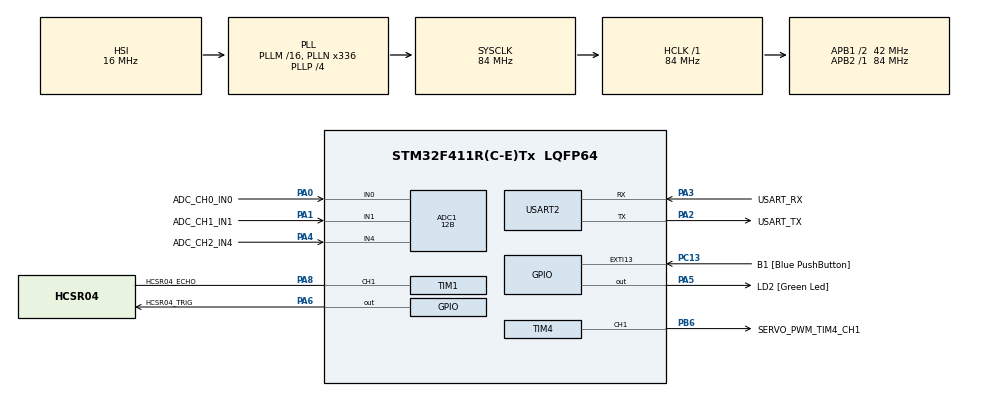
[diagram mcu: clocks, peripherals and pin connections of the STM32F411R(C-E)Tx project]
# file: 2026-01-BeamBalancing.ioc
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ADC1.Channel-0\#ChannelRegularConversion=ADC_CHANNEL_0
ADC1.Channel-1\#ChannelRegularConversion=ADC_CHANNEL_1
ADC1.Channel-2\#ChannelRegularConversion=ADC_CHANNEL_4
ADC1.ClockPrescaler=ADC_CLOCK_SYNC_PCLK_DIV4
ADC1.ContinuousConvMode=DISABLE
ADC1.DataAlign=ADC_DATAALIGN_RIGHT
ADC1.DMAContinuousRequests=DISABLE
ADC1.DiscontinuousConvMode=DISABLE
ADC1.EOCSelection=ADC_EOC_SINGLE_CONV
ADC1.ExternalTrigConv=ADC_EXTERNALTRIGCONV_T3_TRGO
ADC1.ExternalTrigConvEdge=ADC_EXTERNALTRIGCONVEDGE_RISING
ADC1.NbrOfConversion=3
ADC1.NbrOfConversionFlag=1
ADC1.Rank-0\#ChannelRegularConversion=1
ADC1.Rank-1\#ChannelRegularConversion=2
ADC1.Rank-2\#ChannelRegularConversion=3
ADC1.SamplingTime-0\#ChannelRegularConversion=ADC_SAMPLETIME_112CYCLES
ADC1.SamplingTime-1\#ChannelRegularConversion=ADC_SAMPLETIME_112CYCLES
ADC1.SamplingTime-2\#ChannelRegularConversion=ADC_SAMPLETIME_112CYCLES
ADC1.ScanConvMode=ENABLE
ADC1.Resolution=ADC_RESOLUTION_12B
ADC1.master=1
Mcu.Family=STM32F4
Mcu.Name=STM32F411R(C-E)Tx
Mcu.Package=LQFP64
NVIC.ADC_IRQn=true\:0\:0\:false\:false\:true\:true\:true\:true
NVIC.PriorityGroup=NVIC_PRIORITYGROUP_0
NVIC.TIM1_CC_IRQn=true\:2\:0\:true\:false\:true\:true\:true\:true
NVIC.TIM1_UP_TIM10_IRQn=true\:2\:0\:true\:false\:true\:true\:true\:true
NVIC.USART2_IRQn=true\:1\:0\:true\:false\:true\:true\:true\:true
PA0-WKUP.GPIO_Label=ADC_CH0_IN0
PA0-WKUP.Signal=ADCx_IN0
PA1.GPIO_Label=ADC_CH1_IN1
PA1.Signal=ADCx_IN1
PA13.GPIO_Label=TMS
PA13.Mode=Serial_Wire
PA13.Signal=SYS_JTMS-SWDIO
PA14.GPIO_Label=TCK
PA14.Mode=Serial_Wire
PA14.Signal=SYS_JTCK-SWCLK
PA2.GPIO_Label=USART_TX
PA2.Mode=Asynchronous
PA2.Signal=USART2_TX
PA3.GPIO_Label=USART_RX
PA3.Mode=Asynchronous
PA3.Signal=USART2_RX
PA4.GPIO_Label=ADC_CH2_IN4
PA4.Signal=ADCx_IN4
PA5.GPIO_Label=LD2 [Green Led]
PA5.Signal=GPIO_Output
PA6.GPIO_Label=HCSR04_TRIG
PA6.Signal=GPIO_Output
PA8.GPIO_Label=HCSR04_ECHO
PA8.Mode=Input Capture direct mode
PA8.Signal=S_TIM1_CH1
PB3.GPIO_Label=SWO
PB3.Signal=SYS_JTDO-SWO
PB6.GPIO_Label=SERVO_PWM_TIM4_CH1
PB6.Signal=S_TIM4_CH1
PC13-ANTI_TAMP.GPIO_Label=B1 [Blue PushButton]
PC13-ANTI_TAMP.GPIO_ModeDefaultEXTI=GPIO_MODE_IT_FALLING
PC13-ANTI_TAMP.Signal=GPXTI13
PC14-OSC32_IN.Mode=LSE-External-Oscillator
PC14-OSC32_IN.Signal=RCC_OSC32_IN
PC15-OSC32_OUT.Mode=LSE-External-Oscillator
PC15-OSC32_OUT.Signal=RCC_OSC32_OUT
PH0\ -\ OSC_IN.Mode=HSE-External-Clock-Source
PH0\ -\ OSC_IN.Signal=RCC_OSC_IN
PH1\ -\ OSC_OUT.Mode=HSE-External-Clock-Source
PH1\ -\ OSC_OUT.Signal=RCC_OSC_OUT
ProjectManager.HeapSize=0x200
ProjectManager.StackSize=0x400
ProjectManager.TargetToolchain=CMake
RCC.48MHZClocksFreq_Value=84000000
RCC.AHBFreq_Value=84000000
RCC.APB1CLKDivider=RCC_HCLK_DIV2
RCC.APB1Freq_Value=42000000
RCC.APB1TimFreq_Value=84000000
RCC.APB2Freq_Value=84000000
RCC.APB2TimFreq_Value=84000000
RCC.CortexFreq_Value=84000000
RCC.FLatency-AdvancedSettings=FLASH_LATENCY_2
RCC.HCLKFreq_Value=84000000
RCC.HSE_VALUE=8000000
RCC.HSI_VALUE=16000000
RCC.PLLN=336
RCC.PLLP=RCC_PLLP_DIV4
RCC.SYSCLKFreq_VALUE=84000000
RCC.SYSCLKSource=RCC_SYSCLKSOURCE_PLLCLK
RCC.VCOOutputFreq_Value=336000000
SH.ADCx_IN0.0=ADC1_IN0,IN0
SH.ADCx_IN1.0=ADC1_IN1,IN1
SH.ADCx_IN4.0=ADC1_IN4,IN4
SH.S_TIM1_CH1.0=TIM1_CH1,Input Capture direct mode
SH.S_TIM4_CH1.0=TIM4_CH1,PWM Generation1 CH1
STMicroelectronics.X-CUBE-ALGOBUILD.1.4.0.LibraryCcDSPOoLibraryJjDSPOoLibrary=true
TIM1.Channel-Input\ Capture1\ CH1=TIM_CHANNEL_1
TIM1.Period=9999
TIM1.Prescaler=83
TIM3.MasterOutputTrigger=TIM_TRGO_UPDATE
TIM3.Period=99
TIM3.Prescaler=8399
TIM4.Channel-PWM\ Generation1\ CH1=TIM_CHANNEL_1
TIM4.MasterOutputTrigger=TIM_TRGO_RESET
TIM4.Period=19999
TIM4.Prescaler=83
USART2.VirtualMode=VM_ASYNC
VP_STMicroelectronics.X-CUBE-ALGOBUILD_VS_DSPOoLibraryJjLibrary_1.4.0_1.4.0.Mode=DSPOoLibraryJjLibrary
VP_TIM1_VS_ClockSourceINT.Mode=Internal
VP_TIM3_VS_ClockSourceINT.Mode=Internal
VP_TIM4_VS_ClockSourceINT.Mode=Internal
board=NUCLEO-F411RE

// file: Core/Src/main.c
/* USER CODE BEGIN Header */
/**
  ******************************************************************************
  * @file           : main.c
  * @brief          : 빔 밸런싱 애플리케이션의 메인 프로그램 본체.
  *
  * 프로젝트 목적은 다음과 같다.
  * - 빔 밸런싱 실험을 위해 거리 관련 센서 데이터를 100Hz로 취득한다.
  * - 광학 거리 센서를 ADC1 정규 변환으로 측정한다.
  * - SHARP GP2Y0A41SK0F 센서의 ADC 값을 근사 거리(cm)로 변환한다.
  * - HC-SR04 초음파 센서를 TIM1 입력 캡처로 측정한다.
  * - 두 센서를 이용해 중심 오프셋을 계산하고 PID 제어에 활용한다.
  * - SG-90 서보모터를 TIM4 PWM 출력으로 구동한다.
  * - UART 기반 런타임 모니터링 및 명령 입력 기능을 제공한다.
  * - About / ADC / Servo / PID 모드 전환과 BACK 복귀를 지원한다.
  * - PID 제어는 RUN / STOP, SP / KP / KI / KD, DIR, RESET, STATUS 명령을 지원한다.
  ******************************************************************************
  * @attention
  *
  * Copyright (c) 2026 STMicroelectronics.
  * All rights reserved.
  *
  * This software is licensed under terms that can be found in the LICENSE file
  * in the root directory of this software component.
  * If no LICENSE file comes with this software, it is provided AS-IS.
  *
  ******************************************************************************
  */
/* USER CODE END Header */
#include "main.h"

/* USER CODE BEGIN Includes */

#include <stdio.h>
#include <stdlib.h>
#include <string.h>

/* USER CODE END Includes */

/* USER CODE BEGIN PTD */

typedef struct
{
  uint16_t channel[3U];
} AdcFrame_t;

typedef struct
{
  AdcFrame_t frame[256U];
  uint16_t head;
  uint16_t tail;
  uint16_t count;
  uint32_t overflow_count;
} AdcFrameQueue_t;

typedef enum
{
  APP_MODE_NONE  = 0,
  APP_MODE_ADC   = 1,
  APP_MODE_SERVO = 2,
  APP_MODE_PID   = 3
} AppMode_t;

typedef struct
{
  float voltage_v;
  float distance_cm;
} SharpGp2y0a41sk0fPoint_t;

typedef struct
{
  float kp;
  float ki;
  float kd;
  float setpoint_cm;
  float integral;
  float prev_error;
  float manual_offset_cm;
  float last_measurement_cm;
  float last_output_deg;
  uint8_t manual_input_enabled;
  int8_t output_direction_sign;
  uint8_t control_enabled;
  uint32_t last_update_tick;
} PidController_t;

/* USER CODE END PTD */

/* USER CODE BEGIN PD */

#define ADC_CHANNEL_COUNT       3U
#define ADC_BUFFER_LENGTH       256U
#define ADC_SAMPLE_RATE_HZ      100.0f
/* ADC 입력 용도는 다음과 같다.
 * - CH0 (PA0, ADC_CHANNEL_0): 광학 거리 센서 아날로그 출력(주 측정).
 * - CH1 (PA1), CH4 (PA4): 보조/예비 입력.
 */
/* L432-SG90 기준 캘리브레이션 범위와 기본값이다. */
#define SERVO_CALIB_MIN_US       500U
#define SERVO_CALIB_MAX_US      3000U
#define SERVO_DEFAULT_MIN_US     500U
#define SERVO_DEFAULT_MAX_US    2500U
#define ADC_REFERENCE_VOLTAGE      3.3f
#define ADC_MAX_COUNTS          4095.0f
#define UART_RX_RING_SIZE         64U

/* HC-SR04 -------------------------------------------------------------------*/
#define HCSR04_TRIG_PORT        GPIOA
#define HCSR04_TRIG_PIN         GPIO_PIN_6
/* TIM1: PSC=83 → 1MHz tick, ARR=9999 → 10ms 주기(100Hz)이다. */
/* ECHO 유효 최대 거리는 10ms/2 × 34300 cm/s ≈ 171 cm이다. */
#define HCSR04_TIM_ARR          9999U
#define HCSR04_TRIG_PULSE_US    10U

/* USER CODE END PD */

ADC_HandleTypeDef hadc1;

TIM_HandleTypeDef htim1;
TIM_HandleTypeDef htim3;
TIM_HandleTypeDef htim4;

UART_HandleTypeDef huart2;

/* USER CODE BEGIN PV */

uint32_t g_led_toggle_count = 0U;
AdcFrameQueue_t g_adc_queue;
AdcFrame_t g_adc_current_frame;
/* 최신 ADC 3채널 값 스냅샷이다. 항상 마지막 완성 프레임을 보관한다. */
volatile uint16_t g_adc_latest_raw[ADC_CHANNEL_COUNT] = {0U, 0U, 0U};
volatile float g_adc_latest_distance_cm = 0.0f;
volatile uint32_t g_adc_total_frames = 0U;
volatile uint8_t g_adc_rank_index = 0U;
uint8_t g_adc_stream_enabled = 1U;
uint8_t g_servo_current_angle = 90U;
volatile uint32_t g_servo_min_pulse_us = SERVO_DEFAULT_MIN_US;
volatile uint32_t g_servo_max_pulse_us = SERVO_DEFAULT_MAX_US;
AppMode_t g_app_mode = APP_MODE_NONE;
volatile uint8_t g_uart2_rx_ring[UART_RX_RING_SIZE];
volatile uint8_t g_uart2_rx_head = 0U;
volatile uint8_t g_uart2_rx_tail = 0U;
volatile uint8_t g_uart2_rx_it_byte = 0U;

/* HC-SR04 측정 변수들이다. */
typedef enum { ECHO_IDLE = 0, ECHO_RISING = 1 } EchoState_t;
volatile EchoState_t g_echo_state     = ECHO_IDLE;
volatile uint32_t    g_echo_start_us  = 0U;
volatile uint32_t    g_echo_width_us  = 0U;
volatile float       g_hcsr04_dist_cm = 0.0f;

/* USER CODE END PV */

void SystemClock_Config(void);
static void MX_GPIO_Init(void);
static void MX_USART2_UART_Init(void);
static void MX_ADC1_Init(void);
static void MX_TIM1_Init(void);
static void MX_TIM3_Init(void);
static void MX_TIM4_Init(void);
/* USER CODE BEGIN PFP */

void HAL_ADC_ConvCpltCallback(ADC_HandleTypeDef* hadc);
static void AdcQueue_Init(AdcFrameQueue_t* queue);
static uint8_t AdcQueue_Push(AdcFrameQueue_t* queue, const AdcFrame_t* frame);
static uint8_t AdcQueue_Pop(AdcFrameQueue_t* queue, AdcFrame_t* frame);
static uint8_t AdcQueue_IsFull(const AdcFrameQueue_t* queue);
static uint8_t AdcQueue_IsEmpty(const AdcFrameQueue_t* queue);
static uint16_t __attribute__((unused)) AdcQueue_Count(const AdcFrameQueue_t* queue);
static uint32_t __attribute__((unused)) AdcQueue_OverflowCount(const AdcFrameQueue_t* queue);
static void SetServoAngle(uint8_t angle);
static void PrintServoHelp(uint8_t invalid);
static void PrintServoStatus(void);
static void PrintServoPrompt(void);
static void ProcessServoInput(void);
static void PrintAdcHelp(uint8_t invalid);
static void PrintAdcStatus(void);
static void PrintAdcPrompt(void);
static void ProcessAdcInput(void);
static AppMode_t SelectMode(void);
static uint8_t Uart2_ReadByte(uint8_t* out);
static float SharpGp2y0a41sk0f_DistanceCmFromAdc(uint16_t raw_adc);
static float CalculateBallCenterOffsetCm(float left_distance_cm, float right_distance_cm);
static void PrintAboutInfo(void);
static void SetServoAngleRaw(uint8_t angle);
static float ParseFloatOrDefault(const char* text, float default_value);
static void ResetPidController(void);
static float GetPidMeasurementOffsetCm(void);
static void SetPidOutputDirection(int8_t sign);
static void SetPidControlEnabled(uint8_t enabled);
static void PrintPidHelp(uint8_t invalid);
static void PrintPidStatus(void);
static void PrintPidPrompt(void);
static void ProcessPidInput(void);
static void UpdatePidControl(void);

static PidController_t g_pid =
{
  .kp = 5.0f,
  .ki = 0.0f,
  .kd = 0.0f,
  .setpoint_cm = 0.0f,
  .integral = 0.0f,
  .prev_error = 0.0f,
  .manual_offset_cm = 0.0f,
  .last_measurement_cm = 0.0f,
  .last_output_deg = 0.0f,
  .manual_input_enabled = 0U,
  .output_direction_sign = 1,
  .control_enabled = 0U,
  .last_update_tick = 0U
};

/* USER CODE END PFP */

/* USER CODE BEGIN 0 */

static const SharpGp2y0a41sk0fPoint_t kSharpGp2y0a41sk0fCurve[] =
{
  { 3.05f,  4.0f },
  { 2.55f,  5.0f },
  { 2.10f,  6.0f },
  { 1.75f,  7.0f },
  { 1.45f,  8.0f },
  { 1.22f,  9.0f },
  { 1.00f, 10.0f },
  { 0.82f, 12.0f },
  { 0.66f, 15.0f },
  { 0.50f, 20.0f },
  { 0.38f, 25.0f },
  { 0.30f, 30.0f }
};

static float SharpGp2y0a41sk0f_DistanceCmFromAdc(uint16_t raw_adc)
{
  const size_t point_count = sizeof(kSharpGp2y0a41sk0fCurve) / sizeof(kSharpGp2y0a41sk0fCurve[0]);
  float voltage_v;
  size_t i;

  voltage_v = ((float)raw_adc * ADC_REFERENCE_VOLTAGE) / ADC_MAX_COUNTS;

  if (voltage_v >= kSharpGp2y0a41sk0fCurve[0].voltage_v)
  {
    return kSharpGp2y0a41sk0fCurve[0].distance_cm;
  }

  if (voltage_v <= kSharpGp2y0a41sk0fCurve[point_count - 1U].voltage_v)
  {
    return kSharpGp2y0a41sk0fCurve[point_count - 1U].distance_cm;
  }

  for (i = 0U; i < (point_count - 1U); i++)
  {
    const SharpGp2y0a41sk0fPoint_t* left = &kSharpGp2y0a41sk0fCurve[i];
    const SharpGp2y0a41sk0fPoint_t* right = &kSharpGp2y0a41sk0fCurve[i + 1U];

    if ((voltage_v <= left->voltage_v) && (voltage_v >= right->voltage_v))
    {
      float span_v = left->voltage_v - right->voltage_v;
      float ratio = (left->voltage_v - voltage_v) / span_v;

      return left->distance_cm + (ratio * (right->distance_cm - left->distance_cm));
    }
  }

  return kSharpGp2y0a41sk0fCurve[point_count - 1U].distance_cm;
}

static float CalculateBallCenterOffsetCm(float left_distance_cm, float right_distance_cm)
{
  return 0.5f * (left_distance_cm - right_distance_cm);
}

static float ParseFloatOrDefault(const char* text, float default_value)
{
  char* endptr;
  float value;

  if (text == NULL)
  {
    return default_value;
  }

  value = strtof(text, &endptr);
  if (endptr == text)
  {
    return default_value;
  }

  return value;
}

static void SetServoAngleRaw(uint8_t angle)
{
  uint32_t pulse;

  if (angle > 180U)
  {
    angle = 180U;
  }

  pulse = g_servo_min_pulse_us
      + ((uint32_t)angle * (g_servo_max_pulse_us - g_servo_min_pulse_us)) / 180U;
  __HAL_TIM_SET_COMPARE(&htim4, TIM_CHANNEL_1, pulse);
  g_servo_current_angle = angle;
}

static float GetPidMeasurementOffsetCm(void)
{
  if (g_pid.manual_input_enabled != 0U)
  {
    return g_pid.manual_offset_cm;
  }

  return CalculateBallCenterOffsetCm(g_adc_latest_distance_cm, g_hcsr04_dist_cm);
}

static void ResetPidController(void)
{
  g_pid.integral = 0.0f;
  g_pid.prev_error = 0.0f;
  g_pid.last_measurement_cm = GetPidMeasurementOffsetCm();
  g_pid.last_output_deg = 0.0f;
  g_pid.last_update_tick = HAL_GetTick();
}

static void SetPidOutputDirection(int8_t sign)
{
  if (sign < 0)
  {
    g_pid.output_direction_sign = -1;
  }
  else
  {
    g_pid.output_direction_sign = 1;
  }
}

static void SetPidControlEnabled(uint8_t enabled)
{
  g_pid.control_enabled = (enabled != 0U) ? 1U : 0U;
}

static void PrintPidHelp(uint8_t invalid)
{
  if (invalid != 0U)
  {
    printf("\nInvalid command\n");
  }
  else
  {
    printf("\n[PID HELP]\n");
  }

  printf("  POS:<cm>  : set current ball offset manually\n");
  printf("  AUTO      : use sensor-based ball offset\n");
  printf("  RUN       : start PID control\n");
  printf("  STOP      : stop PID control\n");
  printf("  SP:<cm>   : set target offset (default 0)\n");
  printf("  KP:<v>    : set proportional gain\n");
  printf("  KI:<v>    : set integral gain\n");
  printf("  KD:<v>    : set derivative gain\n");
  printf("  DIR:+/-   : set output direction sign\n");
  printf("  RESET     : clear integral/derivative state\n");
  printf("  STATUS    : show PID status\n");
  printf("  BACK      : return to mode select\n");
  printf("  HELP      : show this help\n");
}

static void PrintPidStatus(void)
{
  float measurement_cm;
  float error_cm;

  measurement_cm = GetPidMeasurementOffsetCm();
  error_cm = g_pid.setpoint_cm - measurement_cm;

  printf("\n[PID STATUS]\n");
  printf("  input     : %s\n", (g_pid.manual_input_enabled != 0U) ? "MANUAL" : "AUTO");
  printf("  control   : %s\n", (g_pid.control_enabled != 0U) ? "RUN" : "STOP");
  printf("  offset    : %.2f cm\n", (double)measurement_cm);
  printf("  setpoint  : %.2f cm\n", (double)g_pid.setpoint_cm);
  printf("  error     : %.2f cm\n", (double)error_cm);
  printf("  Kp        : %.3f\n", (double)g_pid.kp);
  printf("  Ki        : %.3f\n", (double)g_pid.ki);
  printf("  Kd        : %.3f\n", (double)g_pid.kd);
  printf("  dir       : %s\n", (g_pid.output_direction_sign >= 0) ? "+" : "-");
  printf("  integral  : %.3f\n", (double)g_pid.integral);
  printf("  output    : %.2f deg\n", (double)g_pid.last_output_deg);
  printf("  servo now : %u deg\n", (unsigned int)g_servo_current_angle);
}

static void PrintPidPrompt(void)
{
  printf("PID> ");
}

static void UpdatePidControl(void)
{
  uint32_t now_tick;
  float dt_s;
  float measurement_cm;
  float error_cm;
  float derivative_cm_per_s;
  float output_deg;
  float next_angle_deg;

  now_tick = HAL_GetTick();
  if ((now_tick - g_pid.last_update_tick) < 10U)
  {
    return;
  }

  if (g_pid.control_enabled == 0U)
  {
    return;
  }

  dt_s = (float)(now_tick - g_pid.last_update_tick) / 1000.0f;
  if (dt_s <= 0.0f)
  {
    return;
  }

  g_pid.last_update_tick = now_tick;

  measurement_cm = GetPidMeasurementOffsetCm();
  error_cm = g_pid.setpoint_cm - measurement_cm;
  g_pid.integral += error_cm * dt_s;
  derivative_cm_per_s = (error_cm - g_pid.prev_error) / dt_s;
  output_deg = (g_pid.kp * error_cm) + (g_pid.ki * g_pid.integral) + (g_pid.kd * derivative_cm_per_s);
  output_deg *= (float)g_pid.output_direction_sign;

  next_angle_deg = 90.0f + output_deg;
  if (next_angle_deg < 0.0f)
  {
    next_angle_deg = 0.0f;
  }
  else if (next_angle_deg > 180.0f)
  {
    next_angle_deg = 180.0f;
  }

  g_pid.prev_error = error_cm;
  g_pid.last_measurement_cm = measurement_cm;
  g_pid.last_output_deg = output_deg;

  SetServoAngleRaw((uint8_t)(next_angle_deg + 0.5f));
}

static void ProcessPidInput(void)
{
  uint8_t rx_char;
  static char input_buf[24];
  static uint8_t input_len = 0U;

  if (Uart2_ReadByte(&rx_char) == 0U)
  {
    return;
  }

  if ((rx_char == '\r') || (rx_char == '\n'))
  {
    uint8_t i;

    if (input_len == 0U)
    {
      PrintPidPrompt();
      return;
    }

    input_buf[input_len] = '\0';

    for (i = 0U; i < input_len; i++)
    {
      if ((input_buf[i] >= 'a') && (input_buf[i] <= 'z'))
      {
        input_buf[i] = (char)(input_buf[i] - 'a' + 'A');
      }
    }

    if (strncmp(input_buf, "POS:", 4U) == 0)
    {
      g_pid.manual_offset_cm = ParseFloatOrDefault(&input_buf[4], 0.0f);
      g_pid.manual_input_enabled = 1U;
      ResetPidController();
      printf("Manual offset = %.2f cm\n", (double)g_pid.manual_offset_cm);
    }
    else if (strcmp(input_buf, "AUTO") == 0)
    {
      g_pid.manual_input_enabled = 0U;
      ResetPidController();
      printf("PID input source = AUTO\n");
    }
    else if (strcmp(input_buf, "RUN") == 0)
    {
      SetPidControlEnabled(1U);
      ResetPidController();
      printf("PID control RUN\n");
    }
    else if (strcmp(input_buf, "STOP") == 0)
    {
      SetPidControlEnabled(0U);
      printf("PID control STOP\n");
    }
    else if (strncmp(input_buf, "SP:", 3U) == 0)
    {
      g_pid.setpoint_cm = ParseFloatOrDefault(&input_buf[3], 0.0f);
      ResetPidController();
      printf("Setpoint = %.2f cm\n", (double)g_pid.setpoint_cm);
    }
    else if (strncmp(input_buf, "KP:", 3U) == 0)
    {
      g_pid.kp = ParseFloatOrDefault(&input_buf[3], g_pid.kp);
      printf("Kp = %.3f\n", (double)g_pid.kp);
    }
    else if (strncmp(input_buf, "KI:", 3U) == 0)
    {
      g_pid.ki = ParseFloatOrDefault(&input_buf[3], g_pid.ki);
      printf("Ki = %.3f\n", (double)g_pid.ki);
    }
    else if (strncmp(input_buf, "KD:", 3U) == 0)
    {
      g_pid.kd = ParseFloatOrDefault(&input_buf[3], g_pid.kd);
      printf("Kd = %.3f\n", (double)g_pid.kd);
    }
    else if (strncmp(input_buf, "DIR:", 4U) == 0)
    {
      char direction = input_buf[4];

      if ((direction == '+') || (direction == '1') || (direction == 'P'))
      {
        SetPidOutputDirection(1);
        printf("PID direction = +\n");
      }
      else if ((direction == '-') || (direction == '0') || (direction == 'N') || (direction == 'R'))
      {
        SetPidOutputDirection(-1);
        printf("PID direction = -\n");
      }
      else
      {
        printf("Invalid direction. Use DIR:+ or DIR:-\n");
      }
    }
    else if (strcmp(input_buf, "RESET") == 0)
    {
      ResetPidController();
      printf("PID state reset\n");
    }
    else if (strcmp(input_buf, "STATUS") == 0)
    {
      PrintPidStatus();
    }
    else if (strcmp(input_buf, "BACK") == 0)
    {
      printf("Returning to mode select\n");
      g_app_mode = APP_MODE_NONE;
      input_len = 0U;
      return;
    }
    else if (strcmp(input_buf, "HELP") == 0)
    {
      PrintPidHelp(0U);
    }
    else
    {
      PrintPidHelp(1U);
    }

    input_len = 0U;
    PrintPidPrompt();
    return;
  }

  if ((rx_char >= ' ') && (rx_char <= '~'))
  {
    if (input_len < (sizeof(input_buf) - 1U))
    {
      input_buf[input_len++] = (char)rx_char;
    }
  }
}

static void PrintAboutInfo(void)
{
  printf("\n[ABOUT]\n");
  printf("  BeamBalancing: STM32F411RE beam balance control demo\n");
  printf("  ADC mode     : GP2Y0A41SK0F optical distance + HC-SR04 distance\n");
  printf("  Servo mode   : SG-90 angle control and calibration\n");
  printf("  PID mode     : offset-based PID position control\n");
  printf("  Commands     : 0=About, 1=ADC, 2=Servo, 3=PID\n");
}

int __io_putchar(int ch)
{
  uint8_t c = (uint8_t)ch;

  /* 줄바꿈 문자를 CRLF로 변환한다. */
  if (c == '\n')
  {
    uint8_t cr = '\r';
    HAL_UART_Transmit(&huart2, &cr, 1U, HAL_MAX_DELAY);
  }

  HAL_UART_Transmit(&huart2, &c, 1U, HAL_MAX_DELAY);
  return ch;
}

static AppMode_t SelectMode(void)
{
  uint8_t rx_char;

  printf("\n=== Mode Select ===\n");
  printf("0: About      - brief program overview\n");
  printf("1: ADC Mode   - CH0 raw + optical_cm + ultrasonic distance CSV output\n");
  printf("2: Servo Mode - command interface (A, STOP, CMIN, CMAX, STATUS, HELP)\n");
  printf("3: PID Mode   - offset-based PID position control\n");
  printf("Press 0, 1, 2 or 3: ");

  while (1)
  {
    if (Uart2_ReadByte(&rx_char) != 0U)
    {
      if (rx_char == '0')
      {
        printf("0\n");
        PrintAboutInfo();
        printf("Press 0, 1, 2 or 3: ");
      }
      else if (rx_char == '1')
      {
        printf("1\n");
        printf("[ADC Mode] Sampling: CH0 + ultrasonic, 100Hz\n");
        printf("Output format: ch0,ultra_cm\n");
        PrintAdcHelp(0U);
        PrintAdcPrompt();
        return APP_MODE_ADC;
      }
      else if (rx_char == '2')
      {
        printf("2\n");
        printf("[Servo Mode] Angle + calibration command interface enabled\n");
        PrintServoHelp(0U);
        PrintServoPrompt();
        return APP_MODE_SERVO;
      }
      else if (rx_char == '3')
      {
        printf("3\n");
        printf("[PID Mode] Position control enabled\n");
        ResetPidController();
        SetPidControlEnabled(0U);
        SetServoAngleRaw(90U);
        PrintPidHelp(0U);
        PrintPidPrompt();
        return APP_MODE_PID;
      }
    }
  }
}

/* USER CODE END 0 */

int main(void)
{

  /* MCU Configuration--------------------------------------------------------*/

  /* Reset of all peripherals, Initializes the Flash interface and the Systick. */
  HAL_Init();

  /* Configure the system clock */
  SystemClock_Config();

  /* Initialize all configured peripherals */
  MX_GPIO_Init();
  MX_USART2_UART_Init();
  MX_ADC1_Init();
  MX_TIM1_Init();
  MX_TIM3_Init();
  MX_TIM4_Init();
  /* USER CODE BEGIN 2 */

  if (HAL_TIM_PWM_Start(&htim4, TIM_CHANNEL_1) != HAL_OK)
  {
    Error_Handler();
  }

  /* 큐/서보 상태 초기화 순서는 1) 큐 초기화, 2) 서보 초기 듀티 적용이다. */
  AdcQueue_Init(&g_adc_queue);
  SetServoAngle(g_servo_current_angle);

  if (HAL_TIM_Base_Start(&htim3) != HAL_OK)
  {
    Error_Handler();
  }

  if (HAL_UART_Receive_IT(&huart2, (uint8_t*)&g_uart2_rx_it_byte, 1U) != HAL_OK)
  {
    Error_Handler();
  }

  if (HAL_ADC_Start_IT(&hadc1) != HAL_OK)
  {
    Error_Handler();
  }

  /* HC-SR04는 TRIG를 초기 LOW로 두고, ECHO 입력 캡처와 Update/CC2 인터럽트를 시작한다. */
  HAL_GPIO_WritePin(HCSR04_TRIG_PORT, HCSR04_TRIG_PIN, GPIO_PIN_RESET);

  if (HAL_TIM_IC_Start_IT(&htim1, TIM_CHANNEL_1) != HAL_OK)
  {
    Error_Handler();
  }
  __HAL_TIM_ENABLE_IT(&htim1, TIM_IT_UPDATE | TIM_IT_CC2);

  /* 부팅이 완료되면 사용자에게 모드 선택을 요청한다. */
  g_app_mode = SelectMode();

  /* USER CODE END 2 */

  /* Infinite loop */
  /* USER CODE BEGIN WHILE */
  /* uint32_t last_report_tick = HAL_GetTick(); */
  while (1)
  {
    /* USER CODE END WHILE */

    /* USER CODE BEGIN 3 */
    uint8_t popped;
    AdcFrame_t frame;

    if (g_app_mode == APP_MODE_NONE)
    {
      g_app_mode = SelectMode();
      continue;
    }

    if (g_app_mode == APP_MODE_PID)
    {
      ProcessPidInput();
      UpdatePidControl();
      continue;
    }

    if (g_app_mode == APP_MODE_SERVO)
    {
      /* Servo 모드는 명령 입력 기반 각도 및 캘리브레이션 제어를 수행한다. */
      ProcessServoInput();
    }
    else
    {
      ProcessAdcInput();

      /* ADC 모드는 ADC 큐에서 프레임을 꺼내 CSV로 출력한다. */
      /*
       * ISR(ADC callback)에서 push 중일 수 있으므로
       * pop 시점만 짧게 임계구역으로 보호한다.
       */
      __disable_irq();
      popped = AdcQueue_Pop(&g_adc_queue, &frame);
      __enable_irq();

      if (popped != 0U)
      {
        if (g_adc_stream_enabled != 0U)
        {
          float optical_distance_cm;

          optical_distance_cm = SharpGp2y0a41sk0f_DistanceCmFromAdc(frame.channel[0]);
          g_adc_latest_distance_cm = optical_distance_cm;

          printf("%u,%.2f,%.2f\n",
                 (unsigned int)frame.channel[0],
                 optical_distance_cm,
                 g_hcsr04_dist_cm);
        }
      }
    }

    /*
    now_tick = HAL_GetTick();
    if ((now_tick - last_report_tick) >= 1000U)
    {
      last_report_tick += 1000U;

      __disable_irq();
      queue_count_snapshot = AdcQueue_Count(&g_adc_queue);
      total_frames_snapshot = g_adc_total_frames;
      overflow_snapshot = AdcQueue_OverflowCount(&g_adc_queue);
      __enable_irq();

      HAL_GPIO_TogglePin(LD2_GPIO_Port, LD2_Pin);
      printf("ADC frames: %lu, queue: %u/256, ovf: %lu, Servo: %u%%\n",
             (unsigned long)total_frames_snapshot,
             (unsigned int)queue_count_snapshot,
             (unsigned long)overflow_snapshot,
             (unsigned int)g_pwm_duty_percent);
      g_led_toggle_count++;
    }
    */
  }
  /* USER CODE END 3 */
}

void SystemClock_Config(void)
{
  RCC_OscInitTypeDef RCC_OscInitStruct = {0};
  RCC_ClkInitTypeDef RCC_ClkInitStruct = {0};

  /** Configure the main internal regulator output voltage
  */
  __HAL_RCC_PWR_CLK_ENABLE();
  __HAL_PWR_VOLTAGESCALING_CONFIG(PWR_REGULATOR_VOLTAGE_SCALE1);

  /** Initializes the RCC Oscillators according to the specified parameters
  * in the RCC_OscInitTypeDef structure.
  */
  RCC_OscInitStruct.OscillatorType = RCC_OSCILLATORTYPE_HSI;
  RCC_OscInitStruct.HSIState = RCC_HSI_ON;
  RCC_OscInitStruct.HSICalibrationValue = RCC_HSICALIBRATION_DEFAULT;
  RCC_OscInitStruct.PLL.PLLState = RCC_PLL_ON;
  RCC_OscInitStruct.PLL.PLLSource = RCC_PLLSOURCE_HSI;
  RCC_OscInitStruct.PLL.PLLM = 16;
  RCC_OscInitStruct.PLL.PLLN = 336;
  RCC_OscInitStruct.PLL.PLLP = RCC_PLLP_DIV4;
  RCC_OscInitStruct.PLL.PLLQ = 4;
  if (HAL_RCC_OscConfig(&RCC_OscInitStruct) != HAL_OK)
  {
    Error_Handler();
  }

  /** Initializes the CPU, AHB and APB buses clocks
  */
  RCC_ClkInitStruct.ClockType = RCC_CLOCKTYPE_HCLK|RCC_CLOCKTYPE_SYSCLK
                              |RCC_CLOCKTYPE_PCLK1|RCC_CLOCKTYPE_PCLK2;
  RCC_ClkInitStruct.SYSCLKSource = RCC_SYSCLKSOURCE_PLLCLK;
  RCC_ClkInitStruct.AHBCLKDivider = RCC_SYSCLK_DIV1;
  RCC_ClkInitStruct.APB1CLKDivider = RCC_HCLK_DIV2;
  RCC_ClkInitStruct.APB2CLKDivider = RCC_HCLK_DIV1;

  if (HAL_RCC_ClockConfig(&RCC_ClkInitStruct, FLASH_LATENCY_2) != HAL_OK)
  {
    Error_Handler();
  }
}

static void MX_ADC1_Init(void)
{

  ADC_ChannelConfTypeDef sConfig = {0};

  /** Configure the global features of the ADC (Clock, Resolution, Data Alignment and number of conversion)
  */
  hadc1.Instance = ADC1;
  hadc1.Init.ClockPrescaler = ADC_CLOCK_SYNC_PCLK_DIV4;
  hadc1.Init.Resolution = ADC_RESOLUTION_12B;
  hadc1.Init.ScanConvMode = ENABLE;
  hadc1.Init.ContinuousConvMode = DISABLE;
  hadc1.Init.DiscontinuousConvMode = DISABLE;
  hadc1.Init.ExternalTrigConvEdge = ADC_EXTERNALTRIGCONVEDGE_RISING;
  hadc1.Init.ExternalTrigConv = ADC_EXTERNALTRIGCONV_T3_TRGO;
  hadc1.Init.DataAlign = ADC_DATAALIGN_RIGHT;
  hadc1.Init.NbrOfConversion = 3;
  hadc1.Init.DMAContinuousRequests = DISABLE;
  hadc1.Init.EOCSelection = ADC_EOC_SINGLE_CONV;
  if (HAL_ADC_Init(&hadc1) != HAL_OK)
  {
    Error_Handler();
  }

  /** Configure for the selected ADC regular channel its corresponding rank in the sequencer and its sample time.
  */
  /* Rank1: CH0(PA0)는 광학 거리 센서이다. */
  sConfig.Channel = ADC_CHANNEL_0;
  sConfig.Rank = 1;
  sConfig.SamplingTime = ADC_SAMPLETIME_112CYCLES;
  if (HAL_ADC_ConfigChannel(&hadc1, &sConfig) != HAL_OK)
  {
    Error_Handler();
  }

  /** Configure for the selected ADC regular channel its corresponding rank in the sequencer and its sample time.
  */
  /* Rank2: CH1(PA1)은 보조/예비 입력이다. */
  sConfig.Channel = ADC_CHANNEL_1;
  sConfig.Rank = 2;
  if (HAL_ADC_ConfigChannel(&hadc1, &sConfig) != HAL_OK)
  {
    Error_Handler();
  }

  /** Configure for the selected ADC regular channel its corresponding rank in the sequencer and its sample time.
  */
  /* Rank3: CH4(PA4)는 보조/예비 입력이다. */
  sConfig.Channel = ADC_CHANNEL_4;
  sConfig.Rank = 3;
  if (HAL_ADC_ConfigChannel(&hadc1, &sConfig) != HAL_OK)
  {
    Error_Handler();
  }

}

/**
  * @brief TIM1 초기화 함수 (HC-SR04 ECHO 입력 캡처 + 100Hz TRIG 생성)
  *        PSC=83 -> 1MHz tick, ARR=9999 -> 10ms 주기(100Hz)
  *        CH1: 입력 캡처 (PA8, ECHO)
  *        CH2: Output Compare TIMING (인터럽트만, 핀 없음, 10us 후 TRIG LOW)
  * @retval None
  */
static void MX_TIM1_Init(void)
{
  TIM_ClockConfigTypeDef sClockSourceConfig = {0};
  TIM_MasterConfigTypeDef sMasterConfig     = {0};
  TIM_IC_InitTypeDef sConfigIC              = {0};
  TIM_OC_InitTypeDef sConfigOC              = {0};

  htim1.Instance               = TIM1;
  htim1.Init.Prescaler         = 83U;           /* 84MHz / 84 = 1MHz */
  htim1.Init.CounterMode       = TIM_COUNTERMODE_UP;
  htim1.Init.Period            = HCSR04_TIM_ARR; /* 9999 = 10ms */
  htim1.Init.ClockDivision     = TIM_CLOCKDIVISION_DIV1;
  htim1.Init.RepetitionCounter = 0U;
  htim1.Init.AutoReloadPreload = TIM_AUTORELOAD_PRELOAD_DISABLE;
  if (HAL_TIM_Base_Init(&htim1) != HAL_OK)
  {
    Error_Handler();
  }

  sClockSourceConfig.ClockSource = TIM_CLOCKSOURCE_INTERNAL;
  if (HAL_TIM_ConfigClockSource(&htim1, &sClockSourceConfig) != HAL_OK)
  {
    Error_Handler();
  }

  sMasterConfig.MasterOutputTrigger = TIM_TRGO_RESET;
  sMasterConfig.MasterSlaveMode     = TIM_MASTERSLAVEMODE_DISABLE;
  if (HAL_TIMEx_MasterConfigSynchronization(&htim1, &sMasterConfig) != HAL_OK)
  {
    Error_Handler();
  }

  /* CH1은 ECHO 상승 엣지 입력 캡처에 사용한다. */
  sConfigIC.ICPolarity  = TIM_INPUTCHANNELPOLARITY_RISING;
  sConfigIC.ICSelection = TIM_ICSELECTION_DIRECTTI;
  sConfigIC.ICPrescaler = TIM_ICPSC_DIV1;
  sConfigIC.ICFilter    = 0U;
  if (HAL_TIM_IC_ConfigChannel(&htim1, &sConfigIC, TIM_CHANNEL_1) != HAL_OK)
  {
    Error_Handler();
  }

  /* CH2는 TRIG 펄스 종료용 OC TIMING에 사용하며, 10us는 CCR2=10이다. */
  sConfigOC.OCMode       = TIM_OCMODE_TIMING;
  sConfigOC.Pulse        = HCSR04_TRIG_PULSE_US;
  sConfigOC.OCPolarity   = TIM_OCPOLARITY_HIGH;
  sConfigOC.OCNPolarity  = TIM_OCNPOLARITY_HIGH;
  sConfigOC.OCFastMode   = TIM_OCFAST_DISABLE;
  sConfigOC.OCIdleState  = TIM_OCIDLESTATE_RESET;
  sConfigOC.OCNIdleState = TIM_OCNIDLESTATE_RESET;
  if (HAL_TIM_OC_ConfigChannel(&htim1, &sConfigOC, TIM_CHANNEL_2) != HAL_OK)
  {
    Error_Handler();
  }
}

static void MX_TIM3_Init(void)
{

  TIM_ClockConfigTypeDef sClockSourceConfig = {0};
  TIM_MasterConfigTypeDef sMasterConfig = {0};

  htim3.Instance = TIM3;
  htim3.Init.Prescaler = 8399;
  htim3.Init.CounterMode = TIM_COUNTERMODE_UP;
  htim3.Init.Period = 99;
  htim3.Init.ClockDivision = TIM_CLOCKDIVISION_DIV1;
  htim3.Init.AutoReloadPreload = TIM_AUTORELOAD_PRELOAD_DISABLE;
  if (HAL_TIM_Base_Init(&htim3) != HAL_OK)
  {
    Error_Handler();
  }
  sClockSourceConfig.ClockSource = TIM_CLOCKSOURCE_INTERNAL;
  if (HAL_TIM_ConfigClockSource(&htim3, &sClockSourceConfig) != HAL_OK)
  {
    Error_Handler();
  }
  sMasterConfig.MasterOutputTrigger = TIM_TRGO_UPDATE;
  sMasterConfig.MasterSlaveMode = TIM_MASTERSLAVEMODE_DISABLE;
  if (HAL_TIMEx_MasterConfigSynchronization(&htim3, &sMasterConfig) != HAL_OK)
  {
    Error_Handler();
  }

}

/**
  * @brief TIM4 초기화 함수 (SG-90 서보 PWM 출력)
  *        - CH1(PB6), 50Hz(20ms), 1us tick 기반 펄스폭 제어
  * @param None
  * @retval None
  */
static void MX_TIM4_Init(void)
{

  TIM_ClockConfigTypeDef sClockSourceConfig = {0};
  TIM_MasterConfigTypeDef sMasterConfig = {0};
  TIM_OC_InitTypeDef sConfigOC = {0};

  htim4.Instance = TIM4;
  htim4.Init.Prescaler = 83;
  htim4.Init.CounterMode = TIM_COUNTERMODE_UP;
  htim4.Init.Period = 19999;
  htim4.Init.ClockDivision = TIM_CLOCKDIVISION_DIV1;
  htim4.Init.AutoReloadPreload = TIM_AUTORELOAD_PRELOAD_DISABLE;
  if (HAL_TIM_Base_Init(&htim4) != HAL_OK)
  {
    Error_Handler();
  }
  sClockSourceConfig.ClockSource = TIM_CLOCKSOURCE_INTERNAL;
  if (HAL_TIM_ConfigClockSource(&htim4, &sClockSourceConfig) != HAL_OK)
  {
    Error_Handler();
  }
  if (HAL_TIM_PWM_Init(&htim4) != HAL_OK)
  {
    Error_Handler();
  }
  sMasterConfig.MasterOutputTrigger = TIM_TRGO_RESET;
  sMasterConfig.MasterSlaveMode = TIM_MASTERSLAVEMODE_DISABLE;
  if (HAL_TIMEx_MasterConfigSynchronization(&htim4, &sMasterConfig) != HAL_OK)
  {
    Error_Handler();
  }
  sConfigOC.OCMode = TIM_OCMODE_PWM1;
  sConfigOC.Pulse = 0;
  sConfigOC.OCPolarity = TIM_OCPOLARITY_HIGH;
  sConfigOC.OCFastMode = TIM_OCFAST_DISABLE;
  if (HAL_TIM_PWM_ConfigChannel(&htim4, &sConfigOC, TIM_CHANNEL_1) != HAL_OK)
  {
    Error_Handler();
  }
  HAL_TIM_MspPostInit(&htim4);

}

static void MX_USART2_UART_Init(void)
{

  huart2.Instance = USART2;
  huart2.Init.BaudRate = 115200;
  huart2.Init.WordLength = UART_WORDLENGTH_8B;
  huart2.Init.StopBits = UART_STOPBITS_1;
  huart2.Init.Parity = UART_PARITY_NONE;
  huart2.Init.Mode = UART_MODE_TX_RX;
  huart2.Init.HwFlowCtl = UART_HWCONTROL_NONE;
  huart2.Init.OverSampling = UART_OVERSAMPLING_16;
  if (HAL_UART_Init(&huart2) != HAL_OK)
  {
    Error_Handler();
  }

}

static void MX_GPIO_Init(void)
{
  GPIO_InitTypeDef GPIO_InitStruct = {0};

  /* GPIO Ports Clock Enable */
  __HAL_RCC_GPIOC_CLK_ENABLE();
  __HAL_RCC_GPIOH_CLK_ENABLE();
  __HAL_RCC_GPIOA_CLK_ENABLE();
  __HAL_RCC_GPIOB_CLK_ENABLE();

  /*Configure GPIO pin Output Level */
  HAL_GPIO_WritePin(LD2_GPIO_Port, LD2_Pin, GPIO_PIN_RESET);

  /*Configure GPIO pin : B1_Pin */
  GPIO_InitStruct.Pin = B1_Pin;
  GPIO_InitStruct.Mode = GPIO_MODE_IT_FALLING;
  GPIO_InitStruct.Pull = GPIO_NOPULL;
  HAL_GPIO_Init(B1_GPIO_Port, &GPIO_InitStruct);

  /*Configure GPIO pin : LD2_Pin */
  GPIO_InitStruct.Pin = LD2_Pin;
  GPIO_InitStruct.Mode = GPIO_MODE_OUTPUT_PP;
  GPIO_InitStruct.Pull = GPIO_NOPULL;
  GPIO_InitStruct.Speed = GPIO_SPEED_FREQ_LOW;
  HAL_GPIO_Init(LD2_GPIO_Port, &GPIO_InitStruct);

}

/* USER CODE BEGIN 4 */

static void AdcQueue_Init(AdcFrameQueue_t* queue)
{
  /* 링버퍼 인덱스와 카운터를 모두 초기 상태로 설정한다. */
  queue->head = 0U;
  queue->tail = 0U;
  queue->count = 0U;
  queue->overflow_count = 0U;
}

static uint8_t AdcQueue_IsFull(const AdcFrameQueue_t* queue)
{
  return (queue->count >= ADC_BUFFER_LENGTH) ? 1U : 0U;
}

static uint8_t AdcQueue_IsEmpty(const AdcFrameQueue_t* queue)
{
  return (queue->count == 0U) ? 1U : 0U;
}

static uint16_t AdcQueue_Count(const AdcFrameQueue_t* queue)
{
  return queue->count;
}

static uint32_t AdcQueue_OverflowCount(const AdcFrameQueue_t* queue)
{
  return queue->overflow_count;
}

static uint8_t AdcQueue_Push(AdcFrameQueue_t* queue, const AdcFrame_t* frame)
{
  uint8_t pushed_without_overflow = 1U;

  if (AdcQueue_IsFull(queue) != 0U)
  {
    /* 실시간 스트리밍 우선 정책으로 가장 오래된 프레임을 폐기하고 최신 프레임을 보존한다. */
    queue->head++;
    if (queue->head >= ADC_BUFFER_LENGTH)
    {
      queue->head = 0U;
    }
    queue->count--;
    queue->overflow_count++;
    pushed_without_overflow = 0U;
  }

  queue->frame[queue->tail] = *frame;
  queue->tail++;
  if (queue->tail >= ADC_BUFFER_LENGTH)
  {
    queue->tail = 0U;
  }
  queue->count++;

  return pushed_without_overflow;
}

static uint8_t AdcQueue_Pop(AdcFrameQueue_t* queue, AdcFrame_t* frame)
{
  if (AdcQueue_IsEmpty(queue) != 0U)
  {
    /* 소비할 데이터가 없으면 즉시 실패를 반환한다. */
    return 0U;
  }

  *frame = queue->frame[queue->head];
  queue->head++;
  if (queue->head >= ADC_BUFFER_LENGTH)
  {
    queue->head = 0U;
  }
  queue->count--;

  return 1U;
}

void HAL_ADC_ConvCpltCallback(ADC_HandleTypeDef* hadc)
{
  uint16_t adc_value;
  uint8_t rank_index;

  /* 다른 ADC 인스턴스 인터럽트는 무시한다. */
  if (hadc->Instance != ADC1)
  {
    return;
  }

  /* 변환이 완료된 현재 rank의 값을 1개 읽는다. */
  adc_value = (uint16_t)HAL_ADC_GetValue(hadc);
  rank_index = g_adc_rank_index;

  /* rank 순서대로 임시 프레임 버퍼에 저장한다. */
  if (rank_index < ADC_CHANNEL_COUNT)
  {
    g_adc_current_frame.channel[rank_index] = adc_value;
  }

  rank_index++;
  if (rank_index >= ADC_CHANNEL_COUNT)
  {
    /* 3채널이 모두 채워지면 1프레임 완성으로 큐에 적재한다. */
    rank_index = 0U;

    /* 메인 루프와 다른 코드에서 즉시 참조할 최신 스냅샷을 갱신한다. */
    g_adc_latest_raw[0] = g_adc_current_frame.channel[0];
    g_adc_latest_raw[1] = g_adc_current_frame.channel[1];
    g_adc_latest_raw[2] = g_adc_current_frame.channel[2];
    g_adc_latest_distance_cm = SharpGp2y0a41sk0f_DistanceCmFromAdc(g_adc_current_frame.channel[0]);

    (void)AdcQueue_Push(&g_adc_queue, &g_adc_current_frame);
    g_adc_total_frames++;
  }

  g_adc_rank_index = rank_index;
}

void HAL_UART_RxCpltCallback(UART_HandleTypeDef* huart)
{
  if (huart->Instance == USART2)
  {
    uint8_t next_head = (uint8_t)(g_uart2_rx_head + 1U);

    if (next_head >= UART_RX_RING_SIZE)
    {
      next_head = 0U;
    }

    if (next_head != g_uart2_rx_tail)
    {
      g_uart2_rx_ring[g_uart2_rx_head] = g_uart2_rx_it_byte;
      g_uart2_rx_head = next_head;
    }

    (void)HAL_UART_Receive_IT(&huart2, (uint8_t*)&g_uart2_rx_it_byte, 1U);
  }
}

void HAL_UART_ErrorCallback(UART_HandleTypeDef* huart)
{
  if (huart->Instance == USART2)
  {
    __HAL_UART_CLEAR_OREFLAG(huart);
    __HAL_UART_CLEAR_NEFLAG(huart);
    __HAL_UART_CLEAR_FEFLAG(huart);
    (void)HAL_UART_Receive_IT(&huart2, (uint8_t*)&g_uart2_rx_it_byte, 1U);
  }
}

/* ---------------------------------------------------------------------------
 * HC-SR04 TIM1 콜백
 * ---------------------------------------------------------------------------*/

/**
 * @brief Update 인터럽트 - TRIG 펄스 시작, 이전 측정 미완료 시 리셋
 */
void HAL_TIM_PeriodElapsedCallback(TIM_HandleTypeDef* htim)
{
  if (htim->Instance == TIM1)
  {
    /* 이전 에코가 끝나지 않은 경우에는 측정을 무효 처리한다. */
    if (g_echo_state == ECHO_RISING)
    {
      g_echo_state = ECHO_IDLE;
      __HAL_TIM_SET_CAPTUREPOLARITY(htim, TIM_CHANNEL_1, TIM_INPUTCHANNELPOLARITY_RISING);
    }

    /* TRIG를 상승시키고, 10us 후 CC2 인터럽트에서 하강시킨다. */
    HAL_GPIO_WritePin(HCSR04_TRIG_PORT, HCSR04_TRIG_PIN, GPIO_PIN_SET);
  }
}

/**
 * @brief CC2 OC 인터럽트 - TRIG 하강 (10us 펄스 완료)
 */
void HAL_TIM_OC_DelayElapsedCallback(TIM_HandleTypeDef* htim)
{
  if (htim->Instance == TIM1)
  {
    HAL_GPIO_WritePin(HCSR04_TRIG_PORT, HCSR04_TRIG_PIN, GPIO_PIN_RESET);
  }
}

/**
 * @brief CH1 입력 캡처 - 상승 엣지에서 시작 시각 저장, 하강 엣지에서 거리 계산
 */
void HAL_TIM_IC_CaptureCallback(TIM_HandleTypeDef* htim)
{
  if ((htim->Instance == TIM1) && (htim->Channel == HAL_TIM_ACTIVE_CHANNEL_1))
  {
    if (g_echo_state == ECHO_IDLE)
    {
      /* 상승 엣지에서는 시작값을 저장하고 하강 엣지로 전환한다. */
      g_echo_start_us = HAL_TIM_ReadCapturedValue(htim, TIM_CHANNEL_1);
      g_echo_state    = ECHO_RISING;
      __HAL_TIM_SET_CAPTUREPOLARITY(htim, TIM_CHANNEL_1, TIM_INPUTCHANNELPOLARITY_FALLING);
    }
    else if (g_echo_state == ECHO_RISING)
    {
      /* 하강 엣지에서는 폭을 계산하고 카운터 랩오버를 보정한다. */
      uint32_t echo_end = HAL_TIM_ReadCapturedValue(htim, TIM_CHANNEL_1);
      uint32_t width_us;

      if (echo_end >= g_echo_start_us)
      {
        width_us = echo_end - g_echo_start_us;
      }
      else
      {
        /* 카운터가 ARR 경계에서 넘어간 경우를 보정한다. */
        width_us = (HCSR04_TIM_ARR - g_echo_start_us) + echo_end + 1U;
      }

      g_echo_width_us  = width_us;
      g_hcsr04_dist_cm = (float)width_us / 58.0f;

      g_echo_state = ECHO_IDLE;
      __HAL_TIM_SET_CAPTUREPOLARITY(htim, TIM_CHANNEL_1, TIM_INPUTCHANNELPOLARITY_RISING);
    }
  }
}

static uint8_t Uart2_ReadByte(uint8_t* out)
{
  uint8_t tail;
  uint8_t value;

  if (out == NULL)
  {
    return 0U;
  }

  __disable_irq();
  if (g_uart2_rx_head == g_uart2_rx_tail)
  {
    __enable_irq();
    return 0U;
  }

  tail = g_uart2_rx_tail;
  value = g_uart2_rx_ring[tail];
  tail++;
  if (tail >= UART_RX_RING_SIZE)
  {
    tail = 0U;
  }
  g_uart2_rx_tail = tail;
  __enable_irq();

  *out = value;
  return 1U;
}

static void SetServoAngle(uint8_t angle)
{
  uint32_t pulse;

  if (angle > 180U)
  {
    angle = 180U;
  }

  pulse = g_servo_min_pulse_us
      + ((uint32_t)angle * (g_servo_max_pulse_us - g_servo_min_pulse_us)) / 180U;
  /* CCR 갱신으로 PWM 듀티를 반영한다. */
  __HAL_TIM_SET_COMPARE(&htim4, TIM_CHANNEL_1, pulse);

  g_servo_current_angle = angle;
  printf("Angle set: %u deg (%luus)\n",
         (unsigned int)g_servo_current_angle,
         (unsigned long)pulse);
}

static void PrintServoHelp(uint8_t invalid)
{
  if (invalid != 0U)
  {
    printf("\nInvalid command\n");
  }
  else
  {
    printf("\n[HELP]\n");
  }

  printf("  A<deg>    : set angle (A0~A180)\n");
  printf("  STOP      : move servo to neutral angle (A90)\n");
  printf("  CMIN:<us> : set 0deg pulse (500~3000us)\n");
  printf("  CMAX:<us> : set 180deg pulse (500~3000us)\n");
  printf("  STATUS    : show current settings\n");
  printf("  BACK      : return to mode select\n");
  printf("  HELP      : show this help\n");
}

static void PrintServoStatus(void)
{
  uint32_t pulse;

  pulse = g_servo_min_pulse_us
      + ((uint32_t)g_servo_current_angle * (g_servo_max_pulse_us - g_servo_min_pulse_us)) / 180U;

  printf("\n[STATUS]\n");
  printf("  angle      : %u deg\n", (unsigned int)g_servo_current_angle);
  printf("  CMIN       : %lu us\n", (unsigned long)g_servo_min_pulse_us);
  printf("  CMAX       : %lu us\n", (unsigned long)g_servo_max_pulse_us);
  printf("  pulse(now) : %lu us\n", (unsigned long)pulse);
}

static void PrintServoPrompt(void)
{
  printf("Input> ");
}

static void ProcessServoInput(void)
{
  uint8_t rx_char;
  static char input_buf[20];
  static uint8_t input_len = 0U;

  /* non-blocking 1-byte read from IRQ-backed UART RX ring */
  if (Uart2_ReadByte(&rx_char) == 0U)
  {
    return;
  }

  /* 엔터 입력 시 명령을 실행한다. */
  if ((rx_char == '\r') || (rx_char == '\n'))
  {
    uint8_t i;

    /* 빈 라인의 엔터는 무시한다. */
    if (input_len == 0U)
    {
      PrintServoPrompt();
      return;
    }

    input_buf[input_len] = '\0';

    for (i = 0U; i < input_len; i++)
    {
      if ((input_buf[i] >= 'a') && (input_buf[i] <= 'z'))
      {
        input_buf[i] = (char)(input_buf[i] - 'a' + 'A');
      }
    }

    if (input_buf[0] == 'A')
    {
      char* endptr;
      long angle = strtol(&input_buf[1], &endptr, 10);

      if ((*endptr == '\0') && (angle >= 0L) && (angle <= 180L))
      {
        SetServoAngle((uint8_t)angle);
      }
      else
      {
        printf("Invalid. Use A0~A180\n");
      }
    }
    else if (strcmp(input_buf, "STOP") == 0)
    {
      SetServoAngle(90U);
      printf("Servo stopped at neutral angle (90 deg)\n");
    }
    else if (strncmp(input_buf, "CMIN:", 5U) == 0)
    {
      char* endptr;
      long value = strtol(&input_buf[5], &endptr, 10);

      if ((*endptr == '\0') && (value >= (long)SERVO_CALIB_MIN_US) && (value <= (long)SERVO_CALIB_MAX_US))
      {
        if ((uint32_t)value < g_servo_max_pulse_us)
        {
          g_servo_min_pulse_us = (uint32_t)value;
          SetServoAngle(g_servo_current_angle);
          printf("CMIN = %lu us (CMAX = %lu us)\n",
                 (unsigned long)g_servo_min_pulse_us,
                 (unsigned long)g_servo_max_pulse_us);
        }
        else
        {
          printf("Error: CMIN must be < CMAX (%lu us)\n",
                 (unsigned long)g_servo_max_pulse_us);
        }
      }
      else
      {
        printf("Invalid value (range: 500~3000 us)\n");
      }
    }
    else if (strncmp(input_buf, "CMAX:", 5U) == 0)
    {
      char* endptr;
      long value = strtol(&input_buf[5], &endptr, 10);

      if ((*endptr == '\0') && (value >= (long)SERVO_CALIB_MIN_US) && (value <= (long)SERVO_CALIB_MAX_US))
      {
        if ((uint32_t)value > g_servo_min_pulse_us)
        {
          g_servo_max_pulse_us = (uint32_t)value;
          SetServoAngle(g_servo_current_angle);
          printf("CMAX = %lu us (CMIN = %lu us)\n",
                 (unsigned long)g_servo_max_pulse_us,
                 (unsigned long)g_servo_min_pulse_us);
        }
        else
        {
          printf("Error: CMAX must be > CMIN (%lu us)\n",
                 (unsigned long)g_servo_min_pulse_us);
        }
      }
      else
      {
        printf("Invalid value (range: 500~3000 us)\n");
      }
    }
    else if (strcmp(input_buf, "BACK") == 0)
    {
      printf("Returning to mode select\n");
      g_app_mode = APP_MODE_NONE;
      input_len = 0U;
      return;
    }
    else if (strcmp(input_buf, "STATUS") == 0)
    {
      PrintServoStatus();
    }
    else if (strcmp(input_buf, "HELP") == 0)
    {
      PrintServoHelp(0U);
    }
    else
    {
      PrintServoHelp(1U);
    }

    /* 다음 입력을 위해 버퍼를 초기화한다. */
    input_len = 0U;
    PrintServoPrompt();
    return;
  }

  if ((rx_char >= ' ') && (rx_char <= '~'))
  {
    if (input_len < (sizeof(input_buf) - 1U))
    {
      input_buf[input_len++] = (char)rx_char;
    }
  }
}

static void PrintAdcHelp(uint8_t invalid)
{
  if (invalid != 0U)
  {
    printf("\nInvalid command\n");
  }
  else
  {
    printf("\n[ADC HELP]\n");
  }

  printf("  START   : enable ADC CSV streaming\n");
  printf("  STOP    : disable ADC CSV streaming\n");
  printf("  STATUS  : show ADC stream/queue status\n");
  printf("  BACK    : return to mode select\n");
  printf("  HELP    : show this help\n");
}

static void PrintAdcStatus(void)
{
  uint16_t queue_count_snapshot;
  uint32_t total_frames_snapshot;
  uint32_t overflow_snapshot;

  __disable_irq();
  queue_count_snapshot = AdcQueue_Count(&g_adc_queue);
  total_frames_snapshot = g_adc_total_frames;
  overflow_snapshot = AdcQueue_OverflowCount(&g_adc_queue);
  __enable_irq();

  printf("\n[ADC STATUS]\n");
  printf("  stream    : %s\n", (g_adc_stream_enabled != 0U) ? "ON" : "OFF");
  printf("  sample    : %.0f Hz\n", ADC_SAMPLE_RATE_HZ);
  printf("  optical   : %.2f cm\n", (double)g_adc_latest_distance_cm);
  printf("  center    : %+.2f cm (left+ / right-)\n",
         (double)CalculateBallCenterOffsetCm(g_adc_latest_distance_cm, g_hcsr04_dist_cm));
  printf("  frames    : %lu\n", (unsigned long)total_frames_snapshot);
  printf("  queue     : %u/256\n", (unsigned int)queue_count_snapshot);
  printf("  overflow  : %lu\n", (unsigned long)overflow_snapshot);
}

static void PrintAdcPrompt(void)
{
  printf("Input> ");
}

static void ProcessAdcInput(void)
{
  uint8_t rx_char;
  static char input_buf[20];
  static uint8_t input_len = 0U;

  if (Uart2_ReadByte(&rx_char) == 0U)
  {
    return;
  }

  if ((rx_char == '\r') || (rx_char == '\n'))
  {
    uint8_t i;

    if (input_len == 0U)
    {
      PrintAdcPrompt();
      return;
    }

    input_buf[input_len] = '\0';

    for (i = 0U; i < input_len; i++)
    {
      if ((input_buf[i] >= 'a') && (input_buf[i] <= 'z'))
      {
        input_buf[i] = (char)(input_buf[i] - 'a' + 'A');
      }
    }

    if (strcmp(input_buf, "START") == 0)
    {
      g_adc_stream_enabled = 1U;
      printf("ADC stream ON\n");
    }
    else if (strcmp(input_buf, "STOP") == 0)
    {
      g_adc_stream_enabled = 0U;
      printf("ADC stream OFF\n");
    }
    else if (strcmp(input_buf, "BACK") == 0)
    {
      printf("Returning to mode select\n");
      g_app_mode = APP_MODE_NONE;
      input_len = 0U;
      return;
    }
    else if (strcmp(input_buf, "STATUS") == 0)
    {
      PrintAdcStatus();
    }
    else if (strcmp(input_buf, "HELP") == 0)
    {
      PrintAdcHelp(0U);
    }
    else
    {
      PrintAdcHelp(1U);
    }

    input_len = 0U;
    PrintAdcPrompt();
    return;
  }

  if ((rx_char >= ' ') && (rx_char <= '~'))
  {
    if (input_len < (sizeof(input_buf) - 1U))
    {
      input_buf[input_len++] = (char)rx_char;
    }
  }
}

/* USER CODE END 4 */

void Error_Handler(void)
{
  __disable_irq();
  while (1)
  {
  }
}
